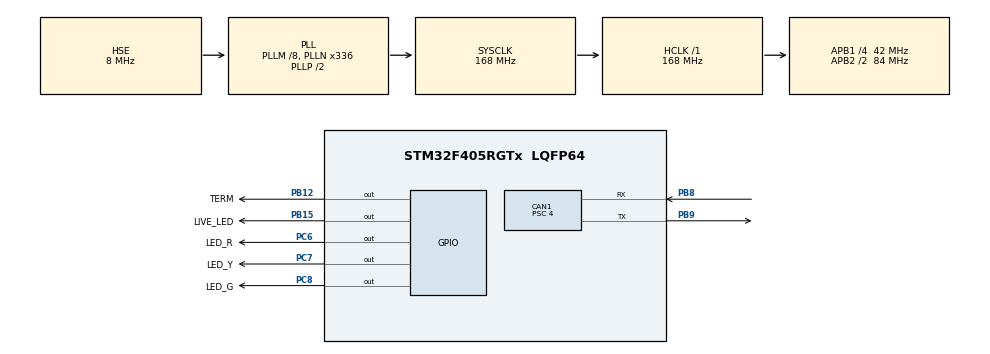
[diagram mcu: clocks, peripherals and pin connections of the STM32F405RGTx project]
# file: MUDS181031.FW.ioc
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CAN1.BS1=CAN_BS1_16TQ
CAN1.BS2=CAN_BS2_4TQ
CAN1.CalculateTimeQuantum=95.23809523809524
CAN1.Prescaler=4
CAN1.SJW=CAN_SJW_3TQ
Mcu.Family=STM32F4
Mcu.Name=STM32F405RGTx
Mcu.Package=LQFP64
NVIC.CAN1_RX0_IRQn=true\:0\:0\:false\:false\:true\:true\:true
NVIC.CAN1_TX_IRQn=true\:0\:0\:false\:false\:true\:true\:true
NVIC.PriorityGroup=NVIC_PRIORITYGROUP_4
PA13.Mode=Trace_Asynchronous_SW
PA13.Signal=SYS_JTMS-SWDIO
PA14.Mode=Trace_Asynchronous_SW
PA14.Signal=SYS_JTCK-SWCLK
PB12.GPIO_Label=TERM
PB12.Signal=GPIO_Output
PB15.GPIO_Label=LIVE_LED
PB15.Signal=GPIO_Output
PB3.Mode=Trace_Asynchronous_SW
PB3.Signal=SYS_JTDO-SWO
PB8.GPIO_Mode=GPIO_MODE_AF_PP
PB8.Mode=Master
PB8.Signal=CAN1_RX
PB9.Mode=Master
PB9.Signal=CAN1_TX
PC6.GPIO_Label=LED_R
PC6.Signal=GPIO_Output
PC7.GPIO_Label=LED_Y
PC7.Signal=GPIO_Output
PC7.Stacked=true
PC8.GPIO_Label=LED_G
PC8.Signal=GPIO_Output
PH0-OSC_IN.Mode=HSE-External-Oscillator
PH0-OSC_IN.Signal=RCC_OSC_IN
PH1-OSC_OUT.Mode=HSE-External-Oscillator
PH1-OSC_OUT.Signal=RCC_OSC_OUT
ProjectManager.HeapSize=0x200
ProjectManager.StackSize=0x400
ProjectManager.TargetToolchain=STM32CubeIDE
RCC.48MHZClocksFreq_Value=84000000
RCC.AHBFreq_Value=168000000
RCC.APB1CLKDivider=RCC_HCLK_DIV4
RCC.APB1Freq_Value=42000000
RCC.APB1TimFreq_Value=84000000
RCC.APB2CLKDivider=RCC_HCLK_DIV2
RCC.APB2Freq_Value=84000000
RCC.APB2TimFreq_Value=168000000
RCC.CortexFreq_Value=168000000
RCC.HCLKFreq_Value=168000000
RCC.HSE_VALUE=8000000
RCC.HSI_VALUE=16000000
RCC.LSE_VALUE=32768
RCC.PLLM=8
RCC.PLLN=336
RCC.PLLSourceVirtual=RCC_PLLSOURCE_HSE
RCC.SYSCLKFreq_VALUE=168000000
RCC.SYSCLKSource=RCC_SYSCLKSOURCE_PLLCLK
RCC.VCOOutputFreq_Value=336000000
board=custom

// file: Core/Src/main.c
/* USER CODE BEGIN Header */
/**
  ******************************************************************************
  * @file           : main.c
  * @brief          : Main program body
  ******************************************************************************
  * @attention
  *
  * <h2><center>&copy; Copyright (c) 2020 STMicroelectronics.
  * All rights reserved.</center></h2>
  *
  * This software component is licensed by ST under BSD 3-Clause license,
  * the "License"; You may not use this file except in compliance with the
  * License. You may obtain a copy of the License at:
  *                        opensource.org/licenses/BSD-3-Clause
  *
  ******************************************************************************
  *
  * Processor:                      STM32F405RGT6W
  * System Clock source             PLL (HSE)
  * SYSCLK(Hz)                      168000000
  * HCLK(Hz)                        168000000
  * AHB Prescaler                   1
  * APB1 Prescaler                  4
  * APB2 Prescaler                  2
  * HSE Frequency(Hz)               8000000
  * PLL_M                           8
  * PLL_N                           336 // 336->168MHz, 360->180MHz, 288 ->144MHz
  * PLL_P                           2
  * PLL_Q                           7   // 7->168MHz, 7->180MHz, 6->144MHz
  * VDD(V)                          3.3
  *
  */
/* USER CODE END Header */

#include "main.h"

/* USER CODE BEGIN Includes */
#include "LiveLed.h"
#include <stdio.h>
#include "iso15765_server.h"
/* USER CODE END Includes */

/* USER CODE BEGIN PTD */
typedef enum _DebugStateTypeDef
{
  DBG_NONE,
  DBG_RxIT,
}DebugStateTypeDef;

typedef enum _CtrlStatesTypeDef
{
  SDEV_START,                   //0
  SDEV_SYS_INIT,
  SDEV_STDBY,                   //2
  SDDEV_CHARGE_OFF,
  SDEV_CHANGE,
  SDEV_RUN,                    //3
}CtrlStateTypeDef;

typedef struct _State
{
  CtrlStateTypeDef Next;
  CtrlStateTypeDef Curr;
  CtrlStateTypeDef Pre;
}StateTypeDef;

typedef struct _AppTypeDef
{
  int Counter;
  StateTypeDef States;
  Iso15765Handle_Type   Transport;
  Iso15765Handle_Type   Bms2Transport;
}DeviceTypeDef;
/* USER CODE END PTD */

CAN_HandleTypeDef hcan1;

/* USER CODE BEGIN PV */
LiveLED_HnadleTypeDef LiveLed;
DebugStateTypeDef DebugState;
DeviceTypeDef Device;
/* USER CODE END PV */

void SystemClock_Config(void);
static void MX_GPIO_Init(void);
static void MX_CAN1_Init(void);
/* USER CODE BEGIN PFP */
void LiveLedOff(void);
void LiveLedOn(void);
void DebugTask(DebugStateTypeDef *state);
void DebugPrint(char *str);
void TestMsgSenderTask(void);
void BusTermOn(void);
void BusTermOff(void);
/* USER CODE END PFP */

/* USER CODE BEGIN 0 */

void TestMsgSenderTask(void)
{
  static int32_t timestamp;
  if(HAL_GetTick() - timestamp >= 1000)
  {
    Device.Counter ++;
    CAN_TxHeaderTypeDef   txHeader;
    uint32_t              txMailbox;
    timestamp = HAL_GetTick();
    txHeader.StdId = 0x321;
    txHeader.ExtId = 0xFFFFFFF1;
    txHeader.RTR = CAN_RTR_DATA;
    txHeader.IDE = CAN_ID_EXT;
    txHeader.DLC = 8;
    txHeader.TransmitGlobalTime = DISABLE;
    uint8_t data[8] = {0x01, 0x02, 0x03, 0x04, 0x05, 0x06, 0x7, /*(uint8_t)TickGetMs()*/ 0x08};
    if(HAL_CAN_AddTxMessage(&hcan1, &txHeader, data, &txMailbox) != HAL_OK)
    {
      DeviceErrLog("HAL_CAN_AddTxMessage");
    }
  }
}

/**
  * @brief  Rx Fifo 0 message pending callback
  */
void HAL_CAN_RxFifo0MsgPendingCallback(CAN_HandleTypeDef *hcan)
{
  CAN_RxHeaderTypeDef   rxHeader;
  uint8_t               data[8];

  /* Get RX message */
  if (HAL_CAN_GetRxMessage(hcan, CAN_RX_FIFO0, &rxHeader, data) != HAL_OK)
  {
    DeviceErrLog("HAL_CAN_GetRxMessage");
  }
  if ((rxHeader.ExtId == UDS_RX_ADDR) && (rxHeader.IDE == CAN_ID_EXT) && (rxHeader.DLC == 8))
  {
    Iso15765IncomingStream(&Device.Transport, data, sizeof(data));
  }
    /*...*/
}

/**
  * @brief  Bus Write Callback
  */
uint8_t Iso15765BusWriteCallback(Iso15765Handle_Type *hnd, uint8_t *data, size_t size)
{
  CAN_TxHeaderTypeDef   txHeader;
  uint32_t              txMailbox;
  txHeader.ExtId = UDS_TX_ADDR;
  txHeader.RTR = CAN_RTR_DATA;
  txHeader.IDE = CAN_ID_EXT;
  txHeader.DLC = 8;
  if(HAL_CAN_AddTxMessage(&hcan1, &txHeader, data, &txMailbox) != HAL_OK)
  {
    DeviceErrLog("HAL_CAN_AddTxMessage");
  }

  return ISO15765_OK;
}

/* UDS ------------------------------------------------------------------------*/
/**
  * @brief Request->Response Callback
  */
uint8_t Iso15765ReqRespCallback(Iso15765Handle_Type *hnd, uint8_t *data, size_t size)
{

  #define UDS_SID_DIAG_CTRL   0x10 /*DiagSesssionControl*/
  #define UDS_SID_CLEAR_DTC   0x14 /*ClearDiagnosticInformation*/
  #define UDS_SID_DTC_READ    0x19 /*ReadDTCInformationService*/
  #define UDS_SID_RDBI        0x22 /*ReadDtaByIdentifier*/
  #define UDS_SID_WDBI        0x2E /*WriteDataByIdentifier*/
  #define UDS_SID_RUTINE_CTRL 0x31 /*RutineControl*/

  uint8_t sid = data[0];
  #define DID_TEST    0x0001

  switch(sid)
  {
    /*** DiagSesssionControl ***/
    case UDS_SID_DIAG_CTRL:
    {
      DeviceDbgLog("UDS_SID_DIAG_CTRL, Reqtuest Length %d", size);
      uint8_t diagSessionType = data[1];
      uint8_t temp[]= {UDS_SID_DIAG_CTRL + 0x40, diagSessionType, 0x00, 0x32, 0x01, 0xF4, 0xAA};
      Iso15765Response(hnd, temp, sizeof(temp));
      break;
    }
    /*** ClearDiagnosticInformation ***/
    case UDS_SID_CLEAR_DTC:
    {
      DeviceDbgLog("UDS_SID_CLEAR_DTC, Reqtuest Length %d", size);
      uint8_t resp[] = {UDS_SID_CLEAR_DTC + 0x40 };
      Iso15765Response(hnd, resp, sizeof(resp));
      break;
    }
    /*** ReadDTCInformationService ***/
    case UDS_SID_DTC_READ:
    {
      DeviceDbgLog("UDS_SID_DTC_READ, Reqtuest Length %d", size);
      uint8_t subFunciton = data[1];
      uint8_t DTCstatusMask = data[2];
      if(subFunciton == 0x02  && DTCstatusMask == 0xFF)
      {
         Iso15765Response(hnd, SamplesStoreDtcRead0001, sizeof(SamplesStoreDtcRead0001));
      }
      else
      {
        Iso15765NegativeResponse(hnd, sid, ISO15765_NRC_CONDITIONS_NOT_CORRECT);
      }
      break;
    }
    /*** ReadDtaByIdentifier ***/
    case UDS_SID_RDBI:
    {
      DeviceDbgLog("UDS_SID_RDBI, Reqtuest Length %d", size);
      uint8_t did_msb = data[1];
      uint8_t did_lsb = data[2];
      uint16_t did =  did_msb << 8 | did_lsb;
      switch(did)
      {
        case DID_TEST:
        {
          uint8_t msbValue = 0x00;
          uint8_t lsbValue = 0x10;
          uint8_t temp[] = {UDS_SID_RDBI + 0x40, data[1], data[2], msbValue, lsbValue};
          Iso15765Response(hnd, temp, sizeof(temp));
          break;
        }
       // default:
       // {
       //   Iso15765NegativeResponse(hnd, sid, ISO15765_NRC_CONDITIONS_NOT_CORRECT);
       // }

        break;
      }
      data[0] = UDS_SID_RDBI + 0x40;
      Iso15765Response(hnd, data, size);
      break;
    }
    /*** WriteDataByIdentifier ***/
    case UDS_SID_WDBI:
    {
      uint8_t did_msb = data[1];
      uint8_t did_lsb = data[2];
      uint16_t did =  did_msb << 8 | did_lsb;
      DeviceDbgLog("UDS_SID_RDBI, Reqtuest Length %d", size);
      switch(did)
      {
        /*MASTER 2 */
        case 0x9281:
        {
          break;
        }
        /*Master x 500cTracebilityFVT 0xF18C*/
        case  0xF187:
        {
        /*
          data[0] = UDS_SID_WDBI + 0x40;
          Iso15765Response(hnd, data, 1);
        */
          break;
        }
      }

      data[0] = UDS_SID_WDBI + 0x40;
      Iso15765Response(hnd, data, size);
      break;
    }
    /*** RutineControl ***/
    case UDS_SID_RUTINE_CTRL:
    {
      if(data[1] == 0x01)
      {
        data[0] = UDS_SID_RUTINE_CTRL + 0x40;
        Iso15765Response(hnd, data, size);
      }
      else
      {
        uint8_t resp[] = {UDS_SID_RUTINE_CTRL + 0x40 };
        Iso15765Response(hnd, resp, sizeof(resp));
      }
      DeviceDbgLog("UDS_SID_RUTINE_CTRL, Reqtuest Length %d", size);
      break;
    }
    /*** Unknown ***/
    default:
    {
       Iso15765NegativeResponse(hnd, sid, ISO15765_NRC_CONDITIONS_NOT_CORRECT );
    }
  }
  return ISO15765_OK;
}

void DebugTask(DebugStateTypeDef *state)
{
  switch(*state)
  {
    case DBG_NONE: //0
    {
      break;
    }
    case DBG_RxIT://1
    {
//      if(HAL_UART_Receive_IT(&CMDLINE_UART, (uint8_t *)&CmdLine.InputBuffer.CharBuffer, 1) != HAL_OK)
//        DeviceErrLog("HAL_UART_RxCpltCallback.HAL_UART_Receive_IT");

      break;
    }
  }
  *state = DBG_NONE;
}
/* USER CODE END 0 */

int main(void)
{

  /* MCU Configuration--------------------------------------------------------*/

  /* Reset of all peripherals, Initializes the Flash interface and the Systick. */
  HAL_Init();

  /* Configure the system clock */
  SystemClock_Config();

  /* Initialize all configured peripherals */
  MX_GPIO_Init();
  MX_CAN1_Init();
  /* USER CODE BEGIN 2 */
  /* USER CODE BEGIN 2 */
  printf("%s, %s, Init OK.\r\n", "xx", DEVICE_NAME /*DEVICE_FW*/);
  printf("HAL_RCC_GetPCLK2Freq: %dHz\r\n",(int)HAL_RCC_GetPCLK2Freq());
  printf("SystemCoreClock: %dHz\r\n",(int)SystemCoreClock);
  printf("\r\n");

  /*** LiveLed ***/
  LiveLed.LedOffFnPtr = &LiveLedOff;
  LiveLed.LedOnFnPtr = &LiveLedOn;
  LiveLed.HalfPeriodTimeMs = 500;
  LiveLedInit(&LiveLed);

  /*** Counter ***/
  Device.Counter = 0;

  Iso15765ServerInit(&Device.Transport, ISO15765_SERVER_BLOCK_SIZE, ISO15765_SERVER_STMIN);

  /* USER CODE END 2 */

  /* Infinite loop */
  /* USER CODE BEGIN WHILE */
  while (1)
  {
    LiveLedTask(&LiveLed);
    DebugTask(&DebugState);
    TestMsgSenderTask();
    Iso15765Task(&Device.Transport);
    /* USER CODE END WHILE */

  }
}

void SystemClock_Config(void)
{
  RCC_OscInitTypeDef RCC_OscInitStruct = {0};
  RCC_ClkInitTypeDef RCC_ClkInitStruct = {0};

  /** Configure the main internal regulator output voltage
  */
  __HAL_RCC_PWR_CLK_ENABLE();
  __HAL_PWR_VOLTAGESCALING_CONFIG(PWR_REGULATOR_VOLTAGE_SCALE1);
  /** Initializes the CPU, AHB and APB busses clocks
  */
  RCC_OscInitStruct.OscillatorType = RCC_OSCILLATORTYPE_HSE;
  RCC_OscInitStruct.HSEState = RCC_HSE_ON;
  RCC_OscInitStruct.PLL.PLLState = RCC_PLL_ON;
  RCC_OscInitStruct.PLL.PLLSource = RCC_PLLSOURCE_HSE;
  RCC_OscInitStruct.PLL.PLLM = 8;
  RCC_OscInitStruct.PLL.PLLN = 336;
  RCC_OscInitStruct.PLL.PLLP = RCC_PLLP_DIV2;
  RCC_OscInitStruct.PLL.PLLQ = 4;
  if (HAL_RCC_OscConfig(&RCC_OscInitStruct) != HAL_OK)
  {
    Error_Handler();
  }
  /** Initializes the CPU, AHB and APB busses clocks
  */
  RCC_ClkInitStruct.ClockType = RCC_CLOCKTYPE_HCLK|RCC_CLOCKTYPE_SYSCLK
                              |RCC_CLOCKTYPE_PCLK1|RCC_CLOCKTYPE_PCLK2;
  RCC_ClkInitStruct.SYSCLKSource = RCC_SYSCLKSOURCE_PLLCLK;
  RCC_ClkInitStruct.AHBCLKDivider = RCC_SYSCLK_DIV1;
  RCC_ClkInitStruct.APB1CLKDivider = RCC_HCLK_DIV4;
  RCC_ClkInitStruct.APB2CLKDivider = RCC_HCLK_DIV2;

  if (HAL_RCC_ClockConfig(&RCC_ClkInitStruct, FLASH_LATENCY_5) != HAL_OK)
  {
    Error_Handler();
  }
}

static void MX_CAN1_Init(void)
{

  /* USER CODE BEGIN CAN1_Init 1 */

  /*
   * Baudrate   BRP  SJW          BS1           BS2
   * 500000,    4,   CAN_SJW_3TQ, CAN_BS1_16TQ, CAN_BS2_4TQ,
   */
  /* USER CODE END CAN1_Init 1 */
  hcan1.Instance = CAN1;
  hcan1.Init.Prescaler = 4;
  hcan1.Init.Mode = CAN_MODE_NORMAL;
  hcan1.Init.SyncJumpWidth = CAN_SJW_3TQ;
  hcan1.Init.TimeSeg1 = CAN_BS1_16TQ;
  hcan1.Init.TimeSeg2 = CAN_BS2_4TQ;
  hcan1.Init.TimeTriggeredMode = DISABLE;
  hcan1.Init.AutoBusOff = DISABLE;
  hcan1.Init.AutoWakeUp = DISABLE;
  hcan1.Init.AutoRetransmission = DISABLE;
  hcan1.Init.ReceiveFifoLocked = DISABLE;
  hcan1.Init.TransmitFifoPriority = DISABLE;
  if (HAL_CAN_Init(&hcan1) != HAL_OK)
  {
    Error_Handler();
  }
  /* USER CODE BEGIN CAN1_Init 2 */

  /*** Filter Init***/
  CAN_FilterTypeDef  sFilterConfig;
  sFilterConfig.FilterBank = 0;
  sFilterConfig.FilterMode = CAN_FILTERMODE_IDMASK;
  sFilterConfig.FilterScale = CAN_FILTERSCALE_32BIT;
  sFilterConfig.FilterIdHigh = 0x0000;
  sFilterConfig.FilterIdLow = 0x0000;
  sFilterConfig.FilterMaskIdHigh = 0x0000;
  sFilterConfig.FilterMaskIdLow = 0x0000;
  sFilterConfig.FilterFIFOAssignment = CAN_RX_FIFO0;
  sFilterConfig.FilterActivation = ENABLE;
  sFilterConfig.SlaveStartFilterBank = 14;

  if(HAL_CAN_ConfigFilter(&hcan1, &sFilterConfig) != HAL_OK)
  {
    DeviceErrLog("HAL_CAN_ConfigFilter");
  }

  /*** Activate CAN RX notification ***/
  if (HAL_CAN_ActivateNotification(&hcan1, CAN_IT_RX_FIFO0_MSG_PENDING) != HAL_OK)
  {
    DeviceErrLog("HAL_CAN_ActivateNotification");
  }

  /*** Bus Termination***/
  BusTermOn();

/*** Start the CAN peripheral ***/
if (HAL_CAN_Start(&hcan1) != HAL_OK)
{
  DeviceErrLog("HAL_CAN_Start");
}
  /* USER CODE END CAN1_Init 2 */

}

static void MX_GPIO_Init(void)
{
  GPIO_InitTypeDef GPIO_InitStruct = {0};

  /* GPIO Ports Clock Enable */
  __HAL_RCC_GPIOH_CLK_ENABLE();
  __HAL_RCC_GPIOB_CLK_ENABLE();
  __HAL_RCC_GPIOC_CLK_ENABLE();
  __HAL_RCC_GPIOA_CLK_ENABLE();

  /*Configure GPIO pin Output Level */
  HAL_GPIO_WritePin(GPIOB, TERM_Pin|LIVE_LED_Pin, GPIO_PIN_RESET);

  /*Configure GPIO pin Output Level */
  HAL_GPIO_WritePin(GPIOC, LED_R_Pin|LED_Y_Pin|LED_G_Pin, GPIO_PIN_RESET);

  /*Configure GPIO pins : TERM_Pin LIVE_LED_Pin */
  GPIO_InitStruct.Pin = TERM_Pin|LIVE_LED_Pin;
  GPIO_InitStruct.Mode = GPIO_MODE_OUTPUT_PP;
  GPIO_InitStruct.Pull = GPIO_NOPULL;
  GPIO_InitStruct.Speed = GPIO_SPEED_FREQ_LOW;
  HAL_GPIO_Init(GPIOB, &GPIO_InitStruct);

  /*Configure GPIO pins : LED_R_Pin LED_Y_Pin LED_G_Pin */
  GPIO_InitStruct.Pin = LED_R_Pin|LED_Y_Pin|LED_G_Pin;
  GPIO_InitStruct.Mode = GPIO_MODE_OUTPUT_PP;
  GPIO_InitStruct.Pull = GPIO_NOPULL;
  GPIO_InitStruct.Speed = GPIO_SPEED_FREQ_LOW;
  HAL_GPIO_Init(GPIOC, &GPIO_InitStruct);

}

/* USER CODE BEGIN 4 */
/* printf -------------------------------------------------------------------*/
int _write(int file, char *ptr, int len)
{
  int i=0;
  for(i=0 ; i<len ; i++)
    ITM_SendChar((*ptr++));
  return len;
}

/* LEDs ---------------------------------------------------------------------*/
void LiveLedOn(void)
{
  HAL_GPIO_WritePin(LIVE_LED_GPIO_Port, LIVE_LED_Pin, GPIO_PIN_SET);
}

void LiveLedOff(void)
{
  HAL_GPIO_WritePin(LIVE_LED_GPIO_Port, LIVE_LED_Pin, GPIO_PIN_RESET);
}

/* TERM ---------------------------------------------------------------------*/
void BusTermOn(void)
{
  HAL_GPIO_WritePin(TERM_GPIO_Port, TERM_Pin, GPIO_PIN_SET);
}
void BusTermOff(void)
{
  HAL_GPIO_WritePin(TERM_GPIO_Port, TERM_Pin, GPIO_PIN_RESET);
}

/* USER CODE END 4 */

void Error_Handler(void)
{
}

/************************ (C) COPYRIGHT STMicroelectronics *****END OF FILE****/
